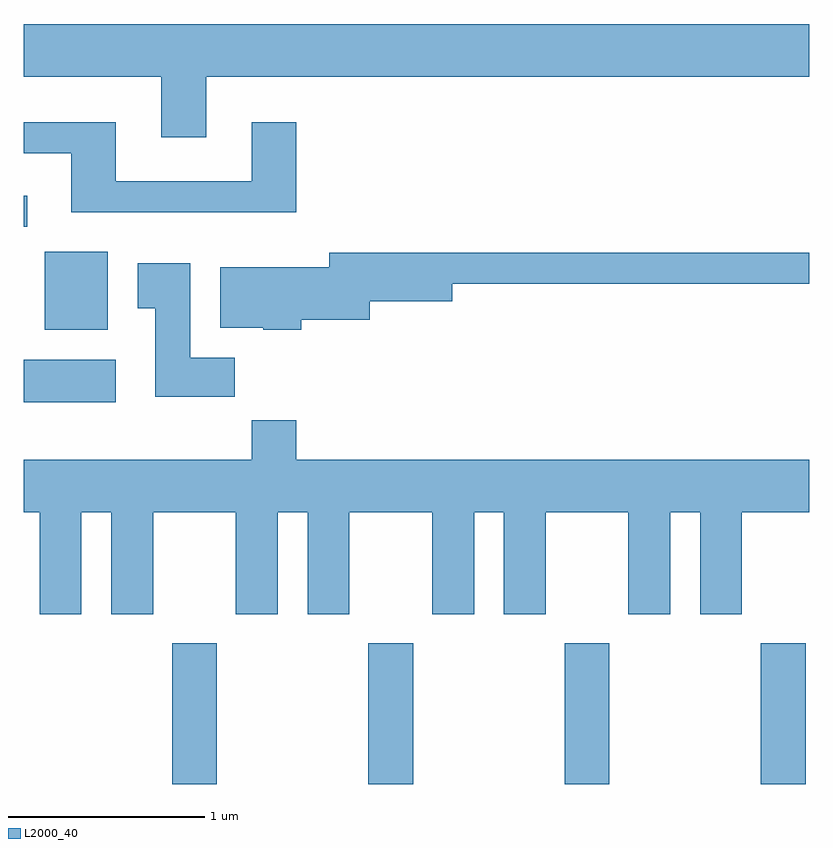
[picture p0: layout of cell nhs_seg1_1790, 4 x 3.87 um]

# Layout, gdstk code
import gdstk
lib = gdstk.Library(unit=1e-6, precision=1e-09)
def R(c, l, rs):  # rectangles x0, y0, x1, y1
    for r in rs: c.add(gdstk.rectangle(r[:2], r[2:], *l))
def A(c, l, x, y, w, h, nx, ny, dx, dy):  # array of equal rectangles
    R(c, l, [(x+i*dx, y+j*dy, x+i*dx+w, y+j*dy+h) for i in range(nx) for j in range(ny)])
def P(c, l, *ps):  # polygons
    for p in ps: c.add(gdstk.Polygon(p, *l))
L2000_40 = (2000, 40)

nhs_seg1_1790 = lib.new_cell('nhs_seg1_1790')
A(nhs_seg1_1790, L2000_40, 240.366, 933.712, 0.228, 0.717, 4, 1, 1, 0)
R(nhs_seg1_1790, L2000_40, [(239.611,935.656,240.079,935.874), (239.716,936.026,240.039,936.424), (239.611,936.551,239.628,936.709)])
P(nhs_seg1_1790, L2000_40, [(240.539,937.316),(243.611,937.316),(243.611,937.584),(239.611,937.584),(239.611,937.316),(240.311,937.316),(240.311,937.006),(240.539,937.006)],
  [(240.999,937.084),(240.771,937.084),(240.771,936.784),(240.079,936.784),(240.079,937.084),(239.611,937.084),(239.611,936.926),(239.851,936.926),(239.851,936.626),(240.999,936.626)],
  [(241.024,936.076),(241.374,936.076),(241.374,936.171),(241.794,936.171),(241.794,936.261),(243.611,936.261),(243.611,936.419),(241.166,936.419),(241.166,936.344),(240.611,936.344),(240.611,936.036),(240.83,936.036),(240.83,936.026),(241.024,936.026)],
  [(240.684,935.884),(240.459,935.884),(240.459,936.364),(240.191,936.364),(240.191,936.136),(240.281,936.136),(240.281,935.686),(240.684,935.686)],
  [(239.611,935.096),(239.691,935.096),(239.691,934.576),(239.904,934.576),(239.904,935.096),(240.056,935.096),(240.056,934.576),(240.269,934.576),(240.269,935.096),(240.691,935.096),(240.691,934.576),(240.904,934.576),(240.904,935.096),(241.056,935.096),(241.056,934.576),(241.269,934.576),(241.269,935.096),(241.691,935.096),(241.691,934.576),(241.904,934.576),(241.904,935.096),(242.056,935.096),(242.056,934.576),(242.269,934.576),(242.269,935.096),(242.691,935.096),(242.691,934.576),(242.904,934.576),(242.904,935.096),(243.056,935.096),(243.056,934.576),(243.269,934.576),(243.269,935.096),(243.611,935.096),(243.611,935.364),(240.999,935.364),(240.999,935.564),(240.771,935.564),(240.771,935.364),(239.611,935.364)])

lib.write_gds('nhs_seg1_1790.gds')
